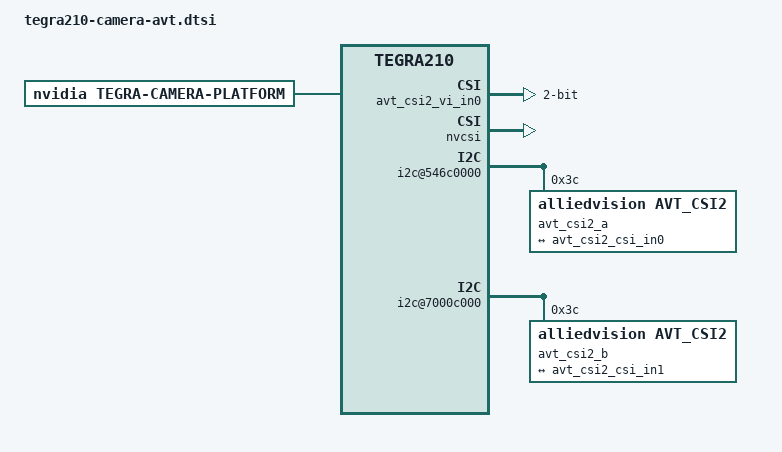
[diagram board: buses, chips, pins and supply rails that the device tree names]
/*
 * Copyright (c) 2015-2018, NVIDIA CORPORATION.  All rights reserved.
 *
 * This program is free software; you can redistribute it and/or modify
 * it under the terms of the GNU General Public License as published by
 * the Free Software Foundation; either version 2 of the License, or
 * (at your option) any later version.
 *
 * This program is distributed in the hope that it will be useful, but WITHOUT
 * ANY WARRANTY; without even the implied warranty of MERCHANTABILITY or
 * FITNESS FOR A PARTICULAR PURPOSE.  See the GNU General Public License for
 * more details.
 *
 * You should have received a copy of the GNU General Public License
 * along with this program.  If not, see <http://www.gnu.org/licenses/>.
 */

#include <dt-bindings/media/camera.h>
#include <dt-bindings/platform/t210/t210.h>

#define CAMERA_I2C_MUX_BUS(x) (0x1E + x)

/ {
	host1x {
		vi {
			status = "okay";
			num-channels = <2>;
			ports {
				status = "okay";
				#address-cells = <1>;
				#size-cells = <0>;
				port@0 {
					status ="okay";
					reg = <0>;
					avt_csi2_vi_in0: endpoint {
						status = "okay";
						port-index = <0>;
						bus-width = <2>;
						remote-endpoint = <&avt_csi2_csi_out0>;
					};
				};
				port@1 {
					reg = <1>;
					avt_csi2_vi_in1: endpoint {
						port-index = <2>;
						bus-width = <2>;
						remote-endpoint = <&avt_csi2_csi_out1>;
					};
				};
			};
		};

		nvcsi {
			status = "okay";
			num-channels = <2>;
			#address-cells = <1>;
			#size-cells = <0>;
			channel@0 {
				status = "okay";
				reg = <0>;
				ports {
					status = "okay";
					#address-cells = <1>;
					#size-cells = <0>;
					port@0 {
						status = "okay";
						reg = <0>;
						avt_csi2_csi_in0: endpoint@0 {
							port-index = <0>;
							bus-width = <2>;
							remote-endpoint = <&avt_csi2_out0>;
						};
					};
					port@1 {
						status = "okay";
						reg = <1>;
						avt_csi2_csi_out0: endpoint@1 {
							remote-endpoint = <&avt_csi2_vi_in0>;
						};
					};
				};
			};
			channel@1 {
				status = "okay";
				reg = <1>;
				ports {
					#address-cells = <1>;
					#size-cells = <0>;
					port@0 {
						status = "okay";
						reg = <0>;
						avt_csi2_csi_in1: endpoint@2 {
							port-index = <2>;
							bus-width = <2>;
							remote-endpoint = <&avt_csi2_out1>;
						};
					};
					port@1 {
						status = "okay";
						reg = <1>;
						avt_csi2_csi_out1: endpoint@3 {
							remote-endpoint = <&avt_csi2_vi_in1>;
						};
					};
				};
			};
		};

		i2c@546c0000 {
			avt_csi2_a@3c {
				status = "okay";
				mclk = "extperiph1";

				devnode = "video0";
				compatible = "alliedvision,avt_csi2";
				reg = <0x3c>;

				ports {
					#address-cells = <1>;
					#size-cells = <0>;

					port@0 {
						reg = <0>;
						avt_csi2_out0: endpoint {
							port-index = <0>;
							bus-width = <2>;
							remote-endpoint = <&avt_csi2_csi_in0>;
						};
					};
				};

				mode0 {
					num_lanes = "4";
					tegra_sinterface = "serial_a";
					discontinuous_clk = "no";
					cil_settletime = "0";
					embedded_metadata_height = "0";

					/* not verified: */
					mclk_khz = "24000";
					phy_mode = "DPHY";
					dpcm_enable = "false";

					active_w = "5488";
					active_h = "4112";
					pixel_t = "bayer_bggr";
					readout_orientation = "0";
					line_length = "5488";
					inherent_gain = "1";
					mclk_multiplier = "31.25";
					pix_clk_hz = "750000000";

					gain_factor = "16";
					framerate_factor = "1000000";
					exposure_factor = "1000000";
					min_gain_val = "16"; /* 1.0 */
					max_gain_val = "256"; /* 16.0 */
					step_gain_val = "1"; /* 0.125 */
					min_hdr_ratio = "1";
					max_hdr_ratio = "64";
					min_framerate = "1500000"; /* 1.5 */
					max_framerate = "30000000"; /* 30 */
					step_framerate = "1";
					min_exp_time = "34"; /* us */
					max_exp_time = "550385"; /* us */
					step_exp_time = "1";
				};
			};
		};
	};


	i2c@7000c000 {
		avt_csi2_b@3c {
			status = "okay";
			mclk = "extperiph1";

			devnode = "video1";
			compatible = "alliedvision,avt_csi2";
			reg = <0x3c>;

			ports {
				#address-cells = <1>;
				#size-cells = <0>;

				port@0 {
					reg = <0>;
					avt_csi2_out1: endpoint {
						port-index = <0>;
						bus-width = <2>;
						remote-endpoint = <&avt_csi2_csi_in1>;
					};
				};
			};

			mode0 {
				num_lanes = "4";
				tegra_sinterface = "serial_a";
				discontinuous_clk = "no";
				cil_settletime = "0";
				embedded_metadata_height = "0";

				/* not verified: */
				mclk_khz = "24000";
				phy_mode = "DPHY";
				dpcm_enable = "false";

				active_w = "5488";
				active_h = "4112";
				pixel_t = "bayer_bggr";
				readout_orientation = "0";
				line_length = "5488";
				inherent_gain = "1";
				mclk_multiplier = "31.25";
				pix_clk_hz = "750000000";

				gain_factor = "16";
				framerate_factor = "1000000";
				exposure_factor = "1000000";
				min_gain_val = "16"; /* 1.0 */
				max_gain_val = "256"; /* 16.0 */
				step_gain_val = "1"; /* 0.125 */
				min_hdr_ratio = "1";
				max_hdr_ratio = "64";
				min_framerate = "1500000"; /* 1.5 */
				max_framerate = "30000000"; /* 30 */
				step_framerate = "1";
				min_exp_time = "34"; /* us */
				max_exp_time = "550385"; /* us */
				step_exp_time = "1";
			};
		};
	};


	tegra-camera-platform {
		compatible = "nvidia, tegra-camera-platform";
		status = "okay";
		/**
		* Physical settings to calculate max ISO BW
		*
		* num_csi_lanes = <>;
		* Total number of CSI lanes when all cameras are active
		*
		* max_lane_speed = <>;
		* Max lane speed in Kbit/s
		*
		* min_bits_per_pixel = <>;
		* Min bits per pixel
		*
		* vi_peak_byte_per_pixel = <>;
		* Max byte per pixel for the VI ISO case
		*
		* vi_bw_margin_pct = <>;
		* Vi bandwidth margin in percentage
		*
		* max_pixel_rate = <>;
		* Max pixel rate in Kpixel/s for the ISP ISO case
		*
		* isp_peak_byte_per_pixel = <>;
		* Max byte per pixel for the ISP ISO case
		*
		* isp_bw_margin_pct = <>;
		* Isp bandwidth margin in percentage
		*/
		num_csi_lanes = <8>;
		max_lane_speed = <1500000>;
		min_bits_per_pixel = <8>;
		vi_peak_byte_per_pixel = <2>;
		vi_bw_margin_pct = <25>;
		max_pixel_rate = <160000>;
		isp_peak_byte_per_pixel = <5>;
		isp_bw_margin_pct = <25>;

		/**
		* The general guideline for naming badge_info contains 3 parts, and is as follows,
		* The first part is the camera_board_id for the module; if the module is in a FFD
		* platform, then use the platform name for this part.
		* The second part contains the position of the module, ex. “rear” or “front”.
		* The third part contains the last 6 characters of a part number which is found
		* in the module's specsheet from the vender.
		*/
		modules {
			status = "okay";
			module0 {
				status = "okay";
				badge = "avt_csi2_a";
				position = "front";
				orientation = "1";
				drivernode0 {
					status = "okay";
					/* Declare PCL support driver (classically known as guid)  */
					pcl_id = "v4l2_sensor";
					/* Driver v4l2 device name */
					devname = "avt_csi2_a 32-003c";
					/* Declare the device-tree hierarchy to driver instance */
					proc-device-tree =
						"/proc/device-tree/host1x/i2c@546c0000/avt_csi2_a@3c";
				};
			};
			module1 {
				status = "okay";
				badge = "avt_csi2_b";
				position = "front";
				orientation = "1";
				drivernode0 {
					status = "okay";
					/* Declare PCL support driver (classically known as guid)  */
					pcl_id = "v4l2_sensor";
					/* Driver v4l2 device name */
					devname = "avt_csi2_b 32-003c";
					/* Declare the device-tree hierarchy to driver instance */
					proc-device-tree =
						"/proc/device-tree/i2c@7000c000/avt_csi2_b@3c";
				};
			};
		};
	};
};
